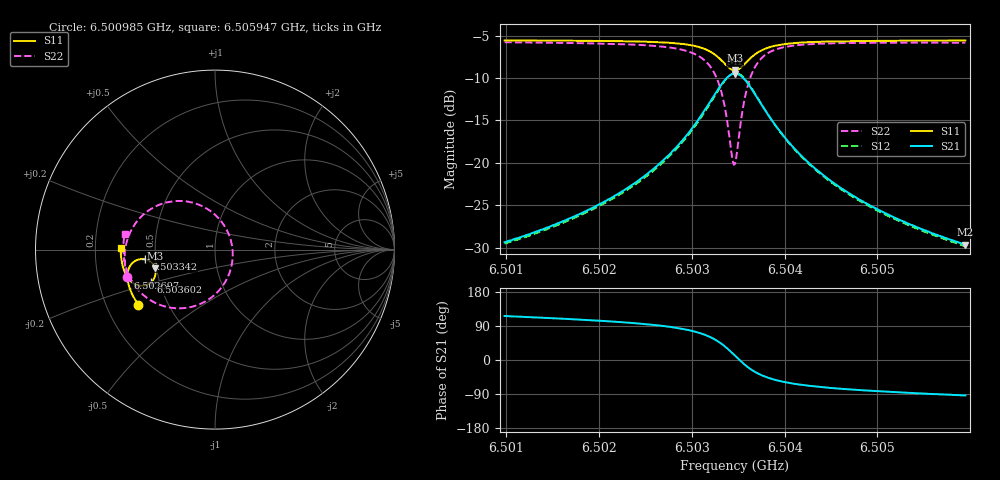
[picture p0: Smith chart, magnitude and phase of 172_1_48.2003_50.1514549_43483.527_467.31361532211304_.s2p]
#  HZ  S  RI  R  50.00
! Rohde & Schwarz Vector Network Analyzer
! Rohde-Schwarz,ZNB20-2Port,1311601062101988,3.16
! Created: UTC 3/20/2024, 11:43:45 AM
! freq[Hz]  re:S11  im:S11  re:S21  im:S21  re:S12  im:S12  re:S22  im:S22
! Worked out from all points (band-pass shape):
!   401 points, 6.500985 GHz to 6.505947 GHz, reference 50 ohm
!   highest |S21| = -9.48 dB at 6.503466 GHz (marker M1); lowest = -29.7 dB at 6.505947 GHz (marker M2)
!   |S21| within 3 dB of the highest: 6.503217 GHz to 6.503714 GHz (496.3 kHz wide, 0.00763 % of centre)
!   lowest |S11| = -9.1 dB at 6.503466 GHz (marker M3), VSWR 2.08, Z = 24.5 - j5.87 ohm
!   |S11| at or under -10 dB: nowhere
!   |S22| runs from -20.2 to -5.8 dB; largest |S21 - S12| = 0.012
!   S11 on the Smith chart (normalised r, x): 6.500985 GHz: 0.34, -0.29; 6.502697 GHz: 0.33, -0.14; 6.503342 GHz: 0.44, -0.06; 6.503602 GHz: 0.45, -0.19; 6.505947 GHz: 0.31, +0.01
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6.5009845e9  -0.4278 -0.3069  -0.0149 0.0305  -0.0132 0.0306  -0.4909 -0.1506
6.5018158e9  -0.4632 -0.2451  -0.0141 0.0486  -0.0117 0.0481  -0.5035 -0.0616
6.5022748e9  -0.4792 -0.204  -0.011 0.0683  -0.0081 0.0671  -0.4999 0.00437
6.502647e9  -0.4879 -0.1625  -0.00175 0.0981  0.00178 0.0956  -0.4798 0.08
6.5026966e9  -0.4883 -0.1561  0.000687 0.1039  0.0044 0.1011  -0.4741 0.0928
6.5029324e9  -0.4851 -0.1192  0.0232 0.1404  0.027 0.1362  -0.4271 0.1667
6.5030937e9  -0.4707 -0.087  0.0623 0.1764  0.0652 0.1704  -0.3509 0.23
6.5032425e9  -0.4332 -0.0574  0.1434 0.2049  0.1443 0.1984  -0.2028 0.271
6.5033418e9  -0.3872 -0.0545  0.2343 0.1885  0.2344 0.1834  -0.0457 0.2282
6.5034287e9  -0.3448 -0.0833  0.3119 0.1143  0.3142 0.1097  0.078 0.0822
6.5034535e9  -0.3369 -0.0974  0.3251 0.0827  0.3282 0.0774  0.0948 0.0226
6.5034659e9  -0.334 -0.1051  0.3294 0.0659  0.3327 0.0601  0.0985 -0.00856
6.5034907e9  -0.3311 -0.1211  0.3328 0.0315  0.3365 0.0245  0.0958 -0.0715
6.5035279e9  -0.3333 -0.1449  0.3255 -0.0182  0.3285 -0.0273  0.0685 -0.1595
6.5036023e9  -0.3555 -0.1814  0.2792 -0.0939  0.2788 -0.1054  -0.0409 -0.281
6.5037016e9  -0.396 -0.2007  0.2017 -0.1368  0.1966 -0.1468  -0.1987 -0.3273
6.5038629e9  -0.4447 -0.1929  0.1145 -0.1363  0.1073 -0.1417  -0.3572 -0.2835
6.5040366e9  -0.4736 -0.1718  0.067 -0.1159  0.0605 -0.1182  -0.4344 -0.2168
6.5042971e9  -0.4958 -0.1403  0.0344 -0.0894  0.0295 -0.09  -0.4816 -0.1393
6.5046817e9  -0.5119 -0.1  0.0147 -0.0651  0.0114 -0.0646  -0.5047 -0.0619
6.5051284e9  -0.5208 -0.0584  0.00502 -0.0489  0.0028 -0.0481  -0.5106 0.00188
6.5059472e9  -0.5259 0.011  -0.00201 -0.0328  -0.0034 -0.0321  -0.5028 0.0894
